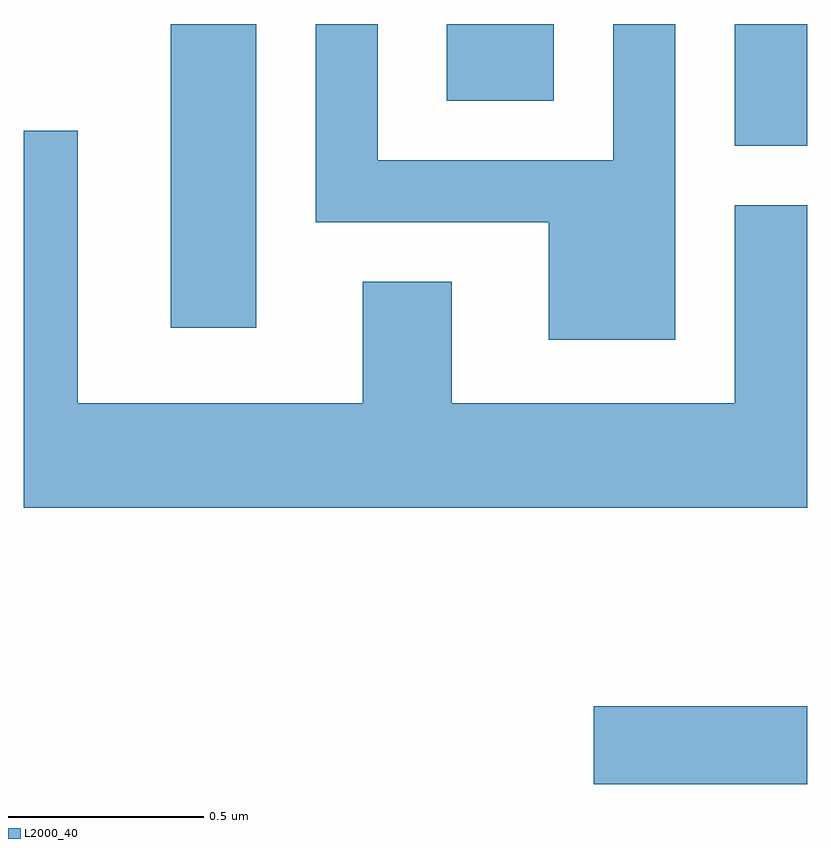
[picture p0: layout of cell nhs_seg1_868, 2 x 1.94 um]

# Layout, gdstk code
import gdstk
lib = gdstk.Library(unit=1e-6, precision=1e-09)
def R(c, l, rs):  # rectangles x0, y0, x1, y1
    for r in rs: c.add(gdstk.rectangle(r[:2], r[2:], *l))
def P(c, l, *ps):  # polygons
    for p in ps: c.add(gdstk.Polygon(p, *l))
L2000_40 = (2000, 40)

nhs_seg1_868 = lib.new_cell('nhs_seg1_868')
R(nhs_seg1_868, L2000_40, [(193.066,887.771,193.611,887.969), (191.986,888.936,192.204,889.712), (193.426,889.401,193.611,889.712), (192.691,889.516,192.964,889.712)])
P(nhs_seg1_868, L2000_40, [(193.274,889.712),(193.116,889.712),(193.116,889.364),(192.514,889.364),(192.514,889.712),(192.356,889.712),(192.356,889.206),(192.951,889.206),(192.951,888.906),(193.274,888.906)],
  [(193.611,889.249),(193.426,889.249),(193.426,888.744),(192.704,888.744),(192.704,889.054),(192.476,889.054),(192.476,888.744),(191.749,888.744),(191.749,889.439),(191.611,889.439),(191.611,888.476),(193.611,888.476)])

lib.write_gds('nhs_seg1_868.gds')
